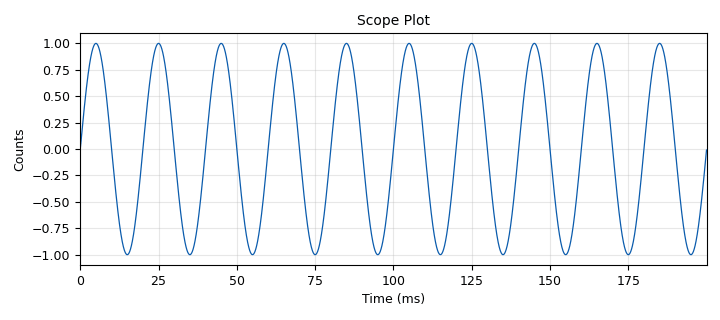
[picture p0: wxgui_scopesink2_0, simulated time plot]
<?xml version='1.0' encoding='utf-8'?>
<?grc format='1' created='3.7.11'?>
<flow_graph>
<block>
<key>options</key>
<param><key>id</key><value>top_block</value></param>
<param><key>generate_options</key><value>wx_gui</value></param>
</block>
<block>
<key>variable_slider</key>
<param><key>id</key><value>f</value></param>
<param><key>converver</key><value>int_converter</value></param>
<param><key>value</key><value>50</value></param>
<param><key>label</key><value>Slider</value></param>
<param><key>max</key><value>10000</value></param>
<param><key>min</key><value>0</value></param>
<param><key>num_steps</key><value>100</value></param>
<param><key>style</key><value>wx.SL_HORIZONTAL</value></param>
</block>
<block>
<key>variable</key>
<param><key>id</key><value>samp_rate</value></param>
<param><key>value</key><value>32000</value></param>
</block>
<block>
<key>analog_sig_source_x</key>
<param><key>id</key><value>C</value></param>
<param><key>amp</key><value>1</value></param>
<param><key>freq</key><value>f</value></param>
<param><key>offset</key><value>0</value></param>
<param><key>type</key><value>float</value></param>
<param><key>samp_rate</key><value>samp_rate</value></param>
<param><key>waveform</key><value>analog.GR_COS_WAVE</value></param>
</block>
<block>
<key>wxgui_scopesink2</key>
<param><key>id</key><value>wxgui_scopesink2_0</value></param>
<param><key>ac_couple</key><value>False</value></param>
<param><key>num_inputs</key><value>1</value></param>
<param><key>samp_rate</key><value>samp_rate</value></param>
<param><key>t_scale</key><value>0</value></param>
<param><key>title</key><value>Scope Plot</value></param>
<param><key>trig_mode</key><value>wxgui.TRIG_MODE_AUTO</value></param>
<param><key>type</key><value>float</value></param>
<param><key>v_offset</key><value>0</value></param>
<param><key>v_scale</key><value>0</value></param>
<param><key>xy_mode</key><value>False</value></param>
<param><key>y_axis_label</key><value>Counts</value></param>
</block>
<connection><source_block_id>C</source_block_id><sink_block_id>wxgui_scopesink2_0</sink_block_id><source_key>0</source_key><sink_key>0</sink_key></connection>
</flow_graph>
